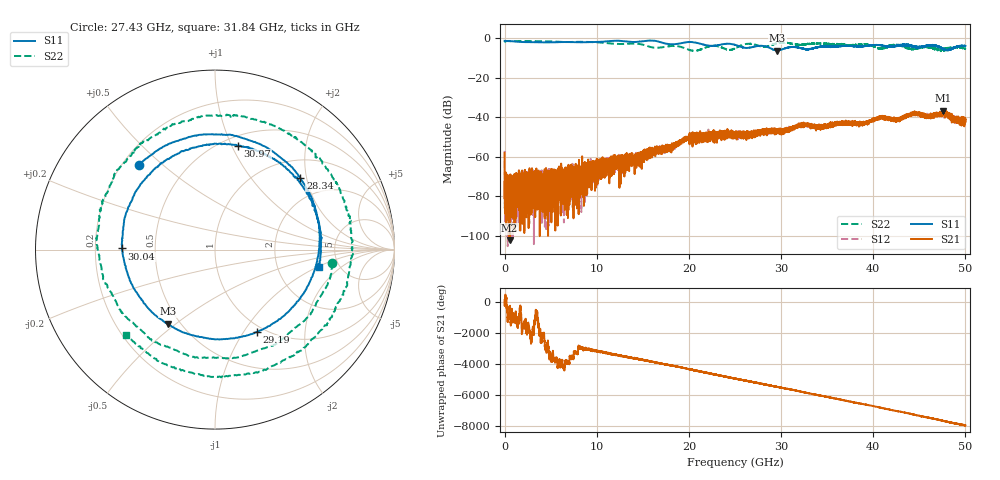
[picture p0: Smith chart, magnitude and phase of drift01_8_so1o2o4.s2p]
!Created with skrf (http://scikit-rf.org).
# Hz S RI R 50.0
!freq ReS11 ImS11 ReS21 ImS21 ReS12 ImS12 ReS22 ImS22
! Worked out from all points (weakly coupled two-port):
!   10001 points, 300 kHz to 50 GHz, reference 50 ohm
!   highest |S21| = -36.66 dB at 47.55 GHz (marker M1); lowest = -102.3 dB at 545.3 MHz (marker M2)
!   lowest |S11| = -6.2 dB at 29.61 GHz (marker M3), VSWR 2.92, Z = 21.5 - j23.4 ohm
!   |S11| at or under -10 dB: nowhere
!   |S22| runs from -6.6 to -1.4 dB; largest |S21 - S12| = 0.0034
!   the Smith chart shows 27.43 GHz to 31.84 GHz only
!   S11 on the Smith chart (normalised r, x): 27.43 GHz: 0.26, +0.42; 28.34 GHz: 1.42, +1.84; 29.19 GHz: 0.92, -1.15; 30.04 GHz: 0.32, +0.01; 30.97 GHz: 0.59, +1.06; 31.84 GHz: 3.53, -1.03
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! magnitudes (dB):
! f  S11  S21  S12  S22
! 300 kHz  -1.3  -58.0  -57.0  -2.1
! 255.3 MHz  -1.4  -73.7  -79.4  -1.4
! 545.3 MHz  -1.4  -102.3  -74.7  -1.4
! 5.2 GHz  -2.1  -81.9  -67.2  -1.6
! 8.335 GHz  -2.0  -66.7  -66.9  -1.8
! 10.33 GHz  -1.8  -63.0  -61.7  -2.2
! 16.67 GHz  -1.7  -57.7  -56.2  -4.8
! 18.62 GHz  -2.9  -53.2  -52.7  -3.9
! 20.34 GHz  -1.9  -50.5  -49.0  -6.2
! 22.59 GHz  -3.9  -48.0  -48.9  -3.8
! 25 GHz  -3.3  -48.1  -48.6  -5.2
! 27.43 GHz  -3.9  -48.4  -48.0  -3.6
! 28.34 GHz  -4.1  -47.2  -46.7  -4.2
! 29.19 GHz  -5.8  -47.2  -46.9  -3.1
! 29.61 GHz  -6.2  -46.3  -46.8  -2.5
! 30.04 GHz  -5.7  -48.8  -47.2  -2.3
! 30.97 GHz  -4.6  -47.0  -46.2  -2.5
! 31.84 GHz  -4.6  -44.2  -44.2  -3.3
! 33.34 GHz  -5.3  -44.2  -43.9  -2.7
! 41.67 GHz  -4.3  -39.9  -40.1  -4.3
! 47.55 GHz  -5.1  -36.7  -38.2  -5.5
! 50 GHz  -3.9  -41.1  -42.7  -5.4
